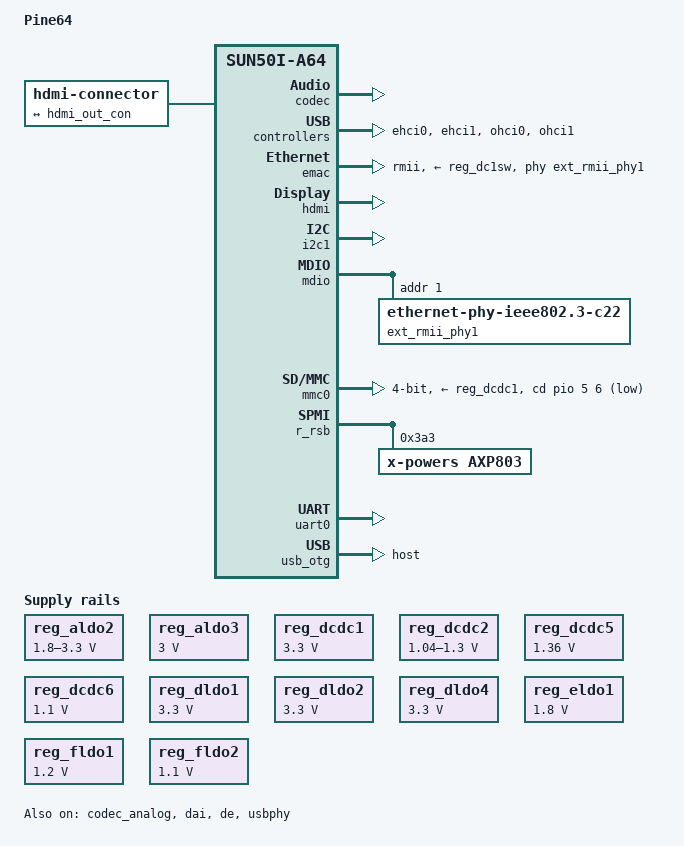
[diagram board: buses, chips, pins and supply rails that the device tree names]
// SPDX-License-Identifier: (GPL-2.0+ OR MIT)
// Copyright (c) 2016 ARM Ltd.

/dts-v1/;

#include "sun50i-a64.dtsi"
#include "sun50i-a64-cpu-opp.dtsi"

#include <dt-bindings/gpio/gpio.h>

/ {
	model = "Pine64";
	compatible = "pine64,pine64", "allwinner,sun50i-a64";

	aliases {
		ethernet0 = &emac;
		serial0 = &uart0;
		serial1 = &uart1;
		serial2 = &uart2;
		serial3 = &uart3;
		serial4 = &uart4;
	};

	chosen {
		stdout-path = "serial0:115200n8";
	};

	hdmi-connector {
		compatible = "hdmi-connector";
		type = "a";

		port {
			hdmi_con_in: endpoint {
				remote-endpoint = <&hdmi_out_con>;
			};
		};
	};
};

&codec {
	status = "okay";
};

&codec_analog {
	cpvdd-supply = <&reg_eldo1>;
	status = "okay";
};

&cpu0 {
	cpu-supply = <&reg_dcdc2>;
};

&cpu1 {
	cpu-supply = <&reg_dcdc2>;
};

&cpu2 {
	cpu-supply = <&reg_dcdc2>;
};

&cpu3 {
	cpu-supply = <&reg_dcdc2>;
};

&dai {
	status = "okay";
};

&de {
	status = "okay";
};

&ehci0 {
	status = "okay";
};

&ehci1 {
	status = "okay";
};

&emac {
	pinctrl-names = "default";
	pinctrl-0 = <&rmii_pins>;
	phy-mode = "rmii";
	phy-handle = <&ext_rmii_phy1>;
	phy-supply = <&reg_dc1sw>;
	status = "okay";

};

&hdmi {
	hvcc-supply = <&reg_dldo1>;
	status = "okay";
};

&hdmi_out {
	hdmi_out_con: endpoint {
		remote-endpoint = <&hdmi_con_in>;
	};
};

&i2c1 {
	status = "okay";
};

&i2c1_pins {
	bias-pull-up;
};

&mdio {
	ext_rmii_phy1: ethernet-phy@1 {
		compatible = "ethernet-phy-ieee802.3-c22";
		reg = <1>;
	};
};

&mmc0 {
	pinctrl-names = "default";
	pinctrl-0 = <&mmc0_pins>;
	vmmc-supply = <&reg_dcdc1>;
	cd-gpios = <&pio 5 6 GPIO_ACTIVE_LOW>;
	disable-wp;
	bus-width = <4>;
	status = "okay";
};

&ohci0 {
	status = "okay";
};

&ohci1 {
	status = "okay";
};

&r_rsb {
	status = "okay";

	axp803: pmic@3a3 {
		compatible = "x-powers,axp803";
		reg = <0x3a3>;
		interrupt-parent = <&r_intc>;
		interrupts = <0 IRQ_TYPE_LEVEL_LOW>;
	};
};

#include "axp803.dtsi"

&ac_power_supply {
	status = "okay";
};

&battery_power_supply {
	status = "okay";
};

&reg_aldo2 {
	regulator-always-on;
	regulator-min-microvolt = <1800000>;
	regulator-max-microvolt = <3300000>;
	regulator-name = "vcc-pl";
};

&reg_aldo3 {
	regulator-always-on;
	regulator-min-microvolt = <3000000>;
	regulator-max-microvolt = <3000000>;
	regulator-name = "vcc-pll-avcc";
};

&reg_dc1sw {
	regulator-name = "vcc-phy";
};

&reg_dcdc1 {
	regulator-always-on;
	regulator-min-microvolt = <3300000>;
	regulator-max-microvolt = <3300000>;
	regulator-name = "vcc-3v3";
};

&reg_dcdc2 {
	regulator-always-on;
	regulator-min-microvolt = <1040000>;
	regulator-max-microvolt = <1300000>;
	regulator-name = "vdd-cpux";
};

/* DCDC3 is polyphased with DCDC2 */

/*
 * The DRAM chips used by Pine64 boards are DDR3L-compatible, so they can
 * work at 1.35V with less power consumption.
 * As AXP803 DCDC5 cannot reach 1.35V accurately, use 1.36V instead.
 */
&reg_dcdc5 {
	regulator-always-on;
	regulator-min-microvolt = <1360000>;
	regulator-max-microvolt = <1360000>;
	regulator-name = "vcc-dram";
};

&reg_dcdc6 {
	regulator-always-on;
	regulator-min-microvolt = <1100000>;
	regulator-max-microvolt = <1100000>;
	regulator-name = "vdd-sys";
};

&reg_dldo1 {
	regulator-min-microvolt = <3300000>;
	regulator-max-microvolt = <3300000>;
	regulator-name = "vcc-hdmi";
};

&reg_dldo2 {
	regulator-min-microvolt = <3300000>;
	regulator-max-microvolt = <3300000>;
	regulator-name = "vcc-mipi";
};

&reg_dldo4 {
	regulator-min-microvolt = <3300000>;
	regulator-max-microvolt = <3300000>;
	regulator-name = "vcc-wifi";
};

&reg_eldo1 {
	regulator-min-microvolt = <1800000>;
	regulator-max-microvolt = <1800000>;
	regulator-name = "cpvdd";
};

&reg_fldo1 {
	regulator-min-microvolt = <1200000>;
	regulator-max-microvolt = <1200000>;
	regulator-name = "vcc-1v2-hsic";
};

/*
 * The A64 chip cannot work without this regulator off, although
 * it seems to be only driving the AR100 core.
 * Maybe we don't still know well about CPUs domain.
 */
&reg_fldo2 {
	regulator-always-on;
	regulator-min-microvolt = <1100000>;
	regulator-max-microvolt = <1100000>;
	regulator-name = "vdd-cpus";
};

&reg_rtc_ldo {
	regulator-name = "vcc-rtc";
};

&simplefb_hdmi {
	vcc-hdmi-supply = <&reg_dldo1>;
};

&sound {
	simple-audio-card,aux-devs = <&codec_analog>;
	simple-audio-card,widgets = "Microphone", "Microphone Jack",
				    "Headphone", "Headphone Jack";
	simple-audio-card,routing =
			"Left DAC", "DACL",
			"Right DAC", "DACR",
			"Headphone Jack", "HP",
			"ADCL", "Left ADC",
			"ADCR", "Right ADC",
			"MIC2", "Microphone Jack";
	status = "okay";
};

/* On Euler connector */
&spdif {
	status = "disabled";
};

/* On Exp and Euler connectors */
&uart0 {
	pinctrl-names = "default";
	pinctrl-0 = <&uart0_pb_pins>;
	status = "okay";
};

/* On Wifi/BT connector, with RTS/CTS */
&uart1 {
	pinctrl-names = "default";
	pinctrl-0 = <&uart1_pins>, <&uart1_rts_cts_pins>;
	status = "disabled";
};

/* On Pi-2 connector */
&uart2 {
	pinctrl-names = "default";
	pinctrl-0 = <&uart2_pins>;
	status = "disabled";
};

/* On Euler connector */
&uart3 {
	pinctrl-names = "default";
	pinctrl-0 = <&uart3_pins>;
	status = "disabled";
};

/* On Euler connector, RTS/CTS optional */
&uart4 {
	pinctrl-names = "default";
	pinctrl-0 = <&uart4_pins>;
	status = "disabled";
};

&usb_otg {
	dr_mode = "host";
	status = "okay";
};

&usbphy {
	status = "okay";
};
